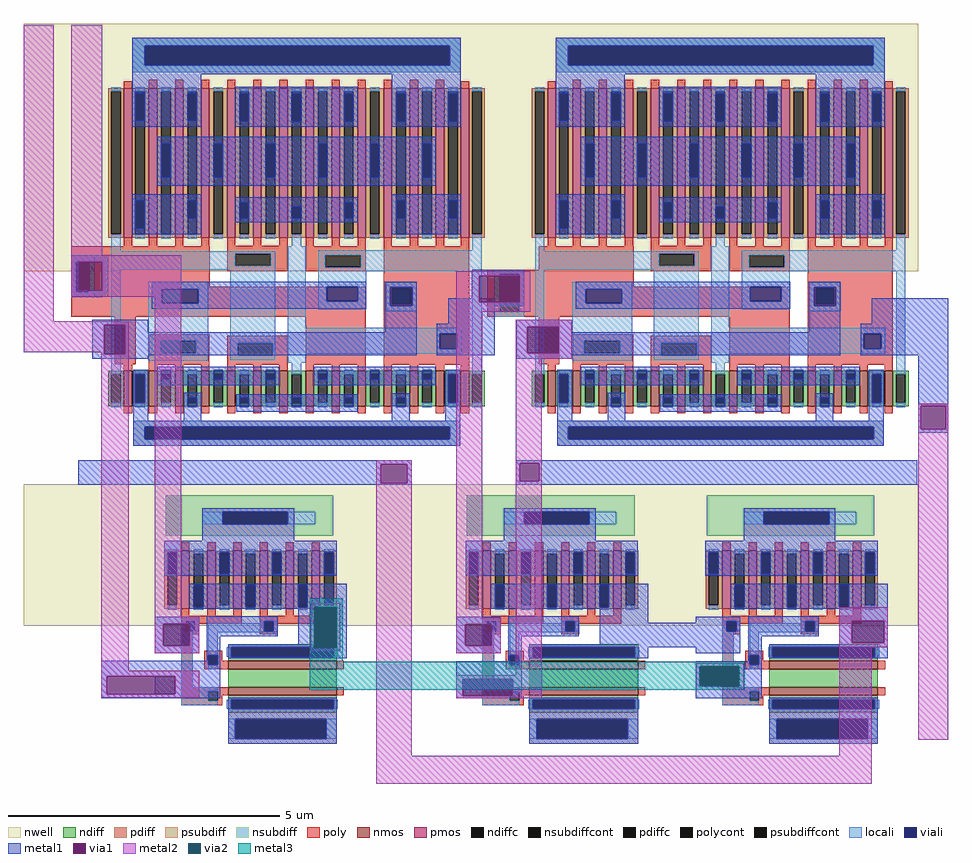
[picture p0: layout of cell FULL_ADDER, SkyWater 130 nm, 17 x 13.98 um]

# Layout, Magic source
magic
tech sky130B
magscale 1 2
<< nwell >>
rect -292 625 2999 1536
rect -292 -679 2999 -159
<< poly >>
rect -118 660 74 717
rect -118 550 -99 660
rect -52 550 74 660
rect -118 458 74 550
rect 1413 615 1729 630
rect 1413 475 1458 615
rect 1531 475 1729 615
rect 1413 458 1729 475
<< polycont >>
rect -99 550 -52 660
rect 1458 475 1531 615
<< locali >>
rect -117 660 -32 683
rect -117 550 -99 660
rect -52 550 -32 660
rect -117 530 -32 550
rect 1358 608 1392 625
rect 1439 615 1548 630
rect 1358 511 1383 608
rect 1358 495 1392 511
rect 1439 475 1458 615
rect 1531 475 1548 615
rect 1439 458 1548 475
<< viali >>
rect -99 550 -52 660
rect 1458 512 1531 615
<< metal1 >>
rect -117 660 18 684
rect -117 550 -99 660
rect -3 552 18 660
rect 1357 625 1548 630
rect -52 550 18 552
rect -117 530 18 550
rect 1356 615 1548 625
rect 1356 608 1458 615
rect 1531 608 1548 615
rect 1356 511 1383 608
rect 1533 511 1548 608
rect 1356 495 1548 511
rect 1519 420 1724 446
rect 1519 323 1559 420
rect 1675 323 1724 420
rect 1519 303 1724 323
rect 2862 316 3108 525
rect 2999 129 3108 316
rect 2999 43 3008 129
rect 3099 43 3108 129
rect 2999 31 3108 43
rect -93 -86 1135 -70
rect -93 -155 1020 -86
rect 1119 -155 1135 -86
rect -93 -161 1135 -155
rect 1518 -82 2995 -70
rect 1518 -148 1532 -82
rect 1603 -148 2995 -82
rect 1518 -161 2995 -148
rect 189 -673 353 -646
rect 189 -753 221 -673
rect 319 -753 353 -673
rect 189 -781 353 -753
rect 1298 -674 1462 -651
rect 1298 -754 1332 -674
rect 1430 -754 1462 -674
rect 1298 -781 1462 -754
rect 1826 -759 2243 -669
rect -7 -866 384 -809
rect -7 -932 12 -866
rect 265 -932 384 -866
rect -7 -946 384 -932
<< via1 >>
rect -93 552 -52 660
rect -52 552 -3 660
rect 1383 512 1458 608
rect 1458 512 1531 608
rect 1531 512 1533 608
rect 1383 511 1533 512
rect 4 319 80 427
rect 1559 323 1675 420
rect 3008 43 3099 129
rect 1020 -155 1119 -86
rect 1532 -148 1603 -82
rect 221 -753 319 -673
rect 776 -760 859 -612
rect 1332 -754 1430 -674
rect 2753 -742 2873 -662
rect 12 -932 265 -866
rect 1322 -937 1507 -877
rect 2194 -903 2339 -828
<< metal2 >>
rect -292 440 -183 1529
rect -117 683 -3 1529
rect -117 660 286 683
rect -117 552 -93 660
rect -3 552 286 660
rect -117 530 286 552
rect -117 529 -3 530
rect -292 439 65 440
rect -292 427 94 439
rect -292 327 4 427
rect -7 319 4 327
rect 80 319 94 427
rect -7 -846 94 319
rect 190 -646 286 530
rect 1299 608 1571 624
rect 1299 511 1383 608
rect 1533 511 1571 608
rect 1299 476 1571 511
rect 1004 -86 1135 -70
rect 1004 -155 1020 -86
rect 1119 -155 1135 -86
rect 763 -612 872 -597
rect 189 -673 353 -646
rect 189 -753 221 -673
rect 319 -753 353 -673
rect 189 -781 353 -753
rect 763 -760 776 -612
rect 859 -760 872 -612
rect 763 -772 872 -760
rect -7 -866 353 -846
rect -7 -932 12 -866
rect 265 -932 353 -866
rect -7 -945 353 -932
rect 1004 -1158 1135 -155
rect 1299 -651 1395 476
rect 1518 420 1724 446
rect 1518 323 1559 420
rect 1675 323 1724 420
rect 1518 303 1724 323
rect 1518 -82 1613 303
rect 1518 -148 1532 -82
rect 1603 -148 1613 -82
rect 1298 -674 1462 -651
rect 1298 -754 1332 -674
rect 1430 -754 1462 -674
rect 1298 -781 1462 -754
rect 1518 -862 1613 -148
rect 2999 129 3108 138
rect 2999 43 3008 129
rect 3099 43 3108 129
rect 2708 -662 2886 -611
rect 2708 -742 2753 -662
rect 2873 -742 2886 -662
rect 2708 -759 2886 -742
rect 1298 -877 1613 -862
rect 1298 -937 1322 -877
rect 1507 -937 1613 -877
rect 2182 -828 2357 -817
rect 2182 -903 2194 -828
rect 2339 -903 2357 -828
rect 2182 -915 2357 -903
rect 1298 -947 1613 -937
rect 2708 -1158 2828 -759
rect 2999 -1099 3108 43
rect 1004 -1260 2828 -1158
<< via2 >>
rect 776 -760 859 -612
rect 2194 -903 2339 -828
<< metal3 >>
rect 759 -612 881 -579
rect 759 -760 776 -612
rect 859 -760 881 -612
rect 759 -813 881 -760
rect 759 -828 2360 -813
rect 759 -903 2194 -828
rect 2339 -903 2360 -828
rect 759 -915 2360 -903
use NAND2  NAND2_0
transform 1 0 -167 0 1 -1051
box 356 -63 1062 892
use NAND2  NAND2_1
transform 1 0 942 0 1 -1051
box 356 -63 1062 892
use NAND2  NAND2_2
transform 1 0 1824 0 1 -1051
box 356 -63 1062 892
use XOR2  XOR2_0
transform 1 0 69 0 1 -239
box -109 222 1371 1764
use XOR2  XOR2_1
transform 1 0 1628 0 1 -239
box -109 222 1371 1764
<< end >>

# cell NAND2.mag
magic
tech sky130B
magscale 1 2
<< nwell >>
rect 356 372 1062 892
<< nmos >>
rect 626 212 1026 242
rect 626 116 1026 146
<< pmos >>
rect 454 434 484 648
rect 550 434 580 648
rect 646 434 676 648
rect 742 434 772 648
rect 838 434 868 648
rect 934 434 964 648
<< ndiff >>
rect 626 292 1026 304
rect 626 258 638 292
rect 1014 258 1026 292
rect 626 242 1026 258
rect 626 146 1026 212
rect 626 100 1026 116
rect 626 66 638 100
rect 1014 66 1026 100
rect 626 54 1026 66
<< pdiff >>
rect 392 636 454 648
rect 392 446 404 636
rect 438 446 454 636
rect 392 434 454 446
rect 484 636 550 648
rect 484 446 500 636
rect 534 446 550 636
rect 484 434 550 446
rect 580 636 646 648
rect 580 446 596 636
rect 630 446 646 636
rect 580 434 646 446
rect 676 636 742 648
rect 676 446 692 636
rect 726 446 742 636
rect 676 434 742 446
rect 772 636 838 648
rect 772 446 788 636
rect 822 446 838 636
rect 772 434 838 446
rect 868 636 934 648
rect 868 446 884 636
rect 918 446 934 636
rect 868 434 934 446
rect 964 636 1026 648
rect 964 446 980 636
rect 1014 446 1026 636
rect 964 434 1026 446
<< ndiffc >>
rect 638 258 1014 292
rect 638 66 1014 100
<< pdiffc >>
rect 404 446 438 636
rect 500 446 534 636
rect 596 446 630 636
rect 692 446 726 636
rect 788 446 822 636
rect 884 446 918 636
rect 980 446 1014 636
<< psubdiff >>
rect 626 30 1026 54
rect 626 -44 653 30
rect 988 -44 1026 30
rect 626 -63 1026 -44
<< nsubdiff >>
rect 396 791 1013 852
rect 396 744 606 791
rect 846 744 1013 791
rect 396 702 1013 744
<< psubdiffcont >>
rect 653 -44 988 30
<< nsubdiffcont >>
rect 606 744 846 791
<< poly >>
rect 454 648 484 679
rect 550 648 580 679
rect 646 648 676 679
rect 742 648 772 679
rect 838 648 868 679
rect 934 648 964 679
rect 454 408 484 434
rect 550 408 580 434
rect 646 408 676 434
rect 453 387 676 408
rect 453 352 470 387
rect 504 378 676 387
rect 742 408 772 434
rect 838 408 868 434
rect 934 408 964 434
rect 742 387 964 408
rect 504 352 520 378
rect 453 341 520 352
rect 742 352 759 387
rect 793 378 964 387
rect 793 352 809 378
rect 742 341 809 352
rect 453 146 496 341
rect 538 263 604 279
rect 538 228 554 263
rect 588 242 604 263
rect 588 228 626 242
rect 538 212 626 228
rect 1026 212 1052 242
rect 453 130 626 146
rect 453 95 554 130
rect 588 116 626 130
rect 1026 116 1052 146
rect 588 95 604 116
rect 453 79 604 95
<< polycont >>
rect 470 352 504 387
rect 759 352 793 387
rect 554 228 588 263
rect 554 95 588 130
<< locali >>
rect 532 744 606 791
rect 846 744 946 791
rect 404 642 438 652
rect 404 430 438 446
rect 500 636 534 652
rect 500 430 534 440
rect 596 642 630 652
rect 596 430 630 446
rect 692 636 726 652
rect 692 430 726 440
rect 788 642 822 652
rect 788 430 822 446
rect 884 636 918 652
rect 884 430 918 440
rect 980 642 1014 652
rect 980 430 1014 446
rect 453 352 470 387
rect 504 352 520 387
rect 742 381 759 387
rect 554 352 759 381
rect 793 352 809 387
rect 453 146 496 352
rect 554 347 809 352
rect 554 263 588 347
rect 622 258 638 292
rect 1014 258 1030 292
rect 554 212 588 228
rect 453 130 588 146
rect 453 95 554 130
rect 453 79 588 95
rect 622 66 638 100
rect 1014 66 1030 100
rect 626 -44 653 30
rect 988 -44 1026 30
<< viali >>
rect 606 744 846 791
rect 404 636 438 642
rect 404 562 438 636
rect 500 446 534 520
rect 500 440 534 446
rect 596 636 630 642
rect 596 562 630 636
rect 692 446 726 520
rect 692 440 726 446
rect 788 636 822 642
rect 788 562 822 636
rect 884 446 918 520
rect 884 440 918 446
rect 980 636 1014 642
rect 980 562 1014 636
rect 470 352 504 387
rect 759 352 793 387
rect 554 228 588 263
rect 638 258 1014 292
rect 638 66 1014 100
rect 653 -44 988 25
<< metal1 >>
rect 532 791 869 803
rect 532 744 606 791
rect 846 744 869 791
rect 532 684 869 744
rect 391 648 1025 684
rect 391 642 1026 648
rect 391 562 404 642
rect 438 562 596 642
rect 630 562 788 642
rect 822 562 980 642
rect 1014 562 1026 642
rect 391 556 1026 562
rect 391 555 1025 556
rect 484 520 1062 526
rect 484 440 500 520
rect 534 440 692 520
rect 726 440 884 520
rect 918 440 1062 520
rect 484 434 1062 440
rect 356 387 520 405
rect 356 352 470 387
rect 504 352 520 387
rect 356 270 520 352
rect 548 387 808 406
rect 548 352 759 387
rect 793 352 808 387
rect 548 332 808 352
rect 548 263 598 332
rect 884 304 1062 434
rect 548 241 554 263
rect 356 228 554 241
rect 588 228 598 263
rect 626 292 1062 304
rect 626 258 638 292
rect 1014 258 1062 292
rect 626 252 1062 258
rect 356 105 598 228
rect 626 100 1026 106
rect 626 66 638 100
rect 1014 66 1026 100
rect 626 25 1026 66
rect 626 -44 653 25
rect 988 -44 1026 25
rect 626 -63 1026 -44
<< end >>

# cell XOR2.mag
magic
tech sky130B
magscale 1 2
<< nwell >>
rect -87 864 1371 1764
<< nmos >>
rect 7 367 37 497
rect 99 367 129 497
rect 195 367 225 497
rect 291 367 321 497
rect 387 367 417 497
rect 483 367 513 497
rect 579 367 609 497
rect 675 367 705 497
rect 771 367 801 497
rect 867 367 897 497
rect 963 367 993 497
rect 1059 367 1089 497
rect 1155 367 1185 497
rect 1247 367 1277 497
<< pmos >>
rect 7 987 37 1537
rect 99 987 129 1537
rect 195 987 225 1537
rect 291 987 321 1537
rect 387 987 417 1537
rect 483 987 513 1537
rect 579 987 609 1537
rect 675 987 705 1537
rect 771 987 801 1537
rect 867 987 897 1537
rect 963 987 993 1537
rect 1059 987 1089 1537
rect 1155 987 1185 1537
rect 1247 987 1277 1537
<< ndiff >>
rect -51 485 7 497
rect -51 379 -39 485
rect -5 379 7 485
rect -51 367 7 379
rect 37 485 99 497
rect 37 379 49 485
rect 83 379 99 485
rect 37 367 99 379
rect 129 485 195 497
rect 129 379 145 485
rect 179 379 195 485
rect 129 367 195 379
rect 225 485 291 497
rect 225 379 241 485
rect 275 379 291 485
rect 225 367 291 379
rect 321 485 387 497
rect 321 379 337 485
rect 371 379 387 485
rect 321 367 387 379
rect 417 485 483 497
rect 417 379 433 485
rect 467 379 483 485
rect 417 367 483 379
rect 513 485 579 497
rect 513 379 529 485
rect 563 379 579 485
rect 513 367 579 379
rect 609 485 675 497
rect 609 379 625 485
rect 659 379 675 485
rect 609 367 675 379
rect 705 485 771 497
rect 705 379 721 485
rect 755 379 771 485
rect 705 367 771 379
rect 801 485 867 497
rect 801 379 817 485
rect 851 379 867 485
rect 801 367 867 379
rect 897 485 963 497
rect 897 379 913 485
rect 947 379 963 485
rect 897 367 963 379
rect 993 485 1059 497
rect 993 379 1009 485
rect 1043 379 1059 485
rect 993 367 1059 379
rect 1089 485 1155 497
rect 1089 379 1105 485
rect 1139 379 1155 485
rect 1089 367 1155 379
rect 1185 485 1247 497
rect 1185 379 1201 485
rect 1235 379 1247 485
rect 1185 367 1247 379
rect 1277 485 1335 497
rect 1277 379 1289 485
rect 1323 379 1335 485
rect 1277 367 1335 379
<< pdiff >>
rect -51 1525 7 1537
rect -51 999 -39 1525
rect -5 999 7 1525
rect -51 987 7 999
rect 37 1525 99 1537
rect 37 999 49 1525
rect 83 999 99 1525
rect 37 987 99 999
rect 129 1525 195 1537
rect 129 999 145 1525
rect 179 999 195 1525
rect 129 987 195 999
rect 225 1525 291 1537
rect 225 999 241 1525
rect 275 999 291 1525
rect 225 987 291 999
rect 321 1525 387 1537
rect 321 999 337 1525
rect 371 999 387 1525
rect 321 987 387 999
rect 417 1525 483 1537
rect 417 999 433 1525
rect 467 999 483 1525
rect 417 987 483 999
rect 513 1525 579 1537
rect 513 999 529 1525
rect 563 999 579 1525
rect 513 987 579 999
rect 609 1525 675 1537
rect 609 999 625 1525
rect 659 999 675 1525
rect 609 987 675 999
rect 705 1525 771 1537
rect 705 999 721 1525
rect 755 999 771 1525
rect 705 987 771 999
rect 801 1525 867 1537
rect 801 999 817 1525
rect 851 999 867 1525
rect 801 987 867 999
rect 897 1525 963 1537
rect 897 999 913 1525
rect 947 999 963 1525
rect 897 987 963 999
rect 993 1525 1059 1537
rect 993 999 1009 1525
rect 1043 999 1059 1525
rect 993 987 1059 999
rect 1089 1525 1155 1537
rect 1089 999 1105 1525
rect 1139 999 1155 1525
rect 1089 987 1155 999
rect 1185 1525 1247 1537
rect 1185 999 1201 1525
rect 1235 999 1247 1525
rect 1185 987 1247 999
rect 1277 1525 1335 1537
rect 1277 999 1289 1525
rect 1323 999 1335 1525
rect 1277 987 1335 999
<< ndiffc >>
rect -39 379 -5 485
rect 49 379 83 485
rect 145 379 179 485
rect 241 379 275 485
rect 337 379 371 485
rect 433 379 467 485
rect 529 379 563 485
rect 625 379 659 485
rect 721 379 755 485
rect 817 379 851 485
rect 913 379 947 485
rect 1009 379 1043 485
rect 1105 379 1139 485
rect 1201 379 1235 485
rect 1289 379 1323 485
<< pdiffc >>
rect -39 999 -5 1525
rect 49 999 83 1525
rect 145 999 179 1525
rect 241 999 275 1525
rect 337 999 371 1525
rect 433 999 467 1525
rect 529 999 563 1525
rect 625 999 659 1525
rect 721 999 755 1525
rect 817 999 851 1525
rect 913 999 947 1525
rect 1009 999 1043 1525
rect 1105 999 1139 1525
rect 1201 999 1235 1525
rect 1289 999 1323 1525
<< psubdiff >>
rect 42 291 1244 313
rect 42 245 83 291
rect 1206 245 1244 291
rect 42 222 1244 245
<< nsubdiff >>
rect 37 1694 1247 1722
rect 37 1622 83 1694
rect 1205 1622 1247 1694
rect 37 1596 1247 1622
<< psubdiffcont >>
rect 83 245 1206 291
<< nsubdiffcont >>
rect 83 1622 1205 1694
<< poly >>
rect 7 1537 37 1563
rect 99 1537 129 1568
rect 195 1537 225 1568
rect 291 1537 321 1568
rect 387 1537 417 1568
rect 483 1537 513 1568
rect 579 1537 609 1568
rect 675 1537 705 1568
rect 771 1537 801 1568
rect 867 1537 897 1568
rect 963 1537 993 1568
rect 1059 1537 1089 1568
rect 1155 1537 1185 1568
rect 1247 1537 1277 1563
rect 7 956 37 987
rect 99 956 129 987
rect 195 956 225 987
rect 291 956 321 987
rect 387 957 417 987
rect 483 957 513 987
rect 579 957 609 987
rect -26 806 323 956
rect 387 928 609 957
rect 387 883 417 928
rect 547 883 609 928
rect 387 864 609 883
rect 675 956 705 987
rect 771 956 801 987
rect 867 956 897 987
rect 675 923 897 956
rect 675 878 748 923
rect 878 878 897 923
rect 675 863 897 878
rect 963 956 993 987
rect 1059 956 1089 987
rect 1155 956 1185 987
rect 1247 956 1277 987
rect -87 697 897 806
rect -26 522 50 697
rect 99 607 321 632
rect 99 562 142 607
rect 272 562 321 607
rect 7 497 37 522
rect 99 519 321 562
rect 99 497 129 519
rect 195 497 225 519
rect 291 497 321 519
rect 387 599 609 627
rect 387 554 425 599
rect 555 554 609 599
rect 387 519 609 554
rect 387 497 417 519
rect 483 497 513 519
rect 579 497 609 519
rect 675 519 897 697
rect 675 497 705 519
rect 771 497 801 519
rect 867 497 897 519
rect 963 799 1277 956
rect 963 744 995 799
rect 1060 744 1277 799
rect 963 519 1277 744
rect 963 497 993 519
rect 1059 497 1089 519
rect 1155 497 1185 519
rect 1247 497 1277 519
rect 7 341 37 367
rect 99 341 129 367
rect 195 341 225 367
rect 291 341 321 367
rect 387 341 417 367
rect 483 341 513 367
rect 579 341 609 367
rect 675 341 705 367
rect 771 341 801 367
rect 867 341 897 367
rect 963 341 993 367
rect 1059 341 1089 367
rect 1155 341 1185 367
rect 1247 341 1277 367
<< polycont >>
rect 417 883 547 928
rect 748 878 878 923
rect 142 562 272 607
rect 425 554 555 599
rect 995 744 1060 799
<< locali >>
rect 37 1694 1247 1722
rect 37 1622 83 1694
rect 1205 1622 1247 1694
rect 37 1596 1247 1622
rect -39 1525 -5 1541
rect -39 938 -5 999
rect 49 1525 83 1541
rect 49 983 83 999
rect 145 1525 179 1541
rect 145 983 179 999
rect 241 1525 275 1541
rect 241 983 275 999
rect 337 1525 371 1541
rect 337 983 371 999
rect 433 1525 467 1541
rect 433 983 467 999
rect 529 1525 563 1541
rect 529 983 563 999
rect 625 1525 659 1541
rect 625 956 659 999
rect 721 1525 755 1541
rect 721 983 755 999
rect 817 1525 851 1541
rect 817 983 851 999
rect 913 1525 947 1541
rect 913 983 947 999
rect 1009 1525 1043 1541
rect 1009 983 1043 999
rect 1105 1525 1139 1541
rect 1105 983 1139 999
rect 1201 1525 1235 1541
rect 1201 983 1235 999
rect 1289 1525 1323 1541
rect -39 928 563 938
rect -39 883 417 928
rect 547 883 563 928
rect -39 869 563 883
rect -39 485 -5 869
rect 97 798 318 825
rect 97 745 147 798
rect 280 745 318 798
rect 97 607 318 745
rect 97 562 142 607
rect 272 562 318 607
rect 97 535 318 562
rect 398 599 563 869
rect 398 554 425 599
rect 555 554 563 599
rect 398 537 563 554
rect 609 656 675 956
rect 1289 941 1323 999
rect 721 923 1323 941
rect 721 878 748 923
rect 878 878 1323 923
rect 721 864 1323 878
rect 721 806 898 864
rect 721 753 753 806
rect 867 753 898 806
rect 721 724 898 753
rect 970 805 1085 823
rect 970 737 987 805
rect 1067 737 1085 805
rect 970 717 1085 737
rect 609 634 1249 656
rect 609 579 1169 634
rect 1234 579 1249 634
rect 609 560 1249 579
rect 609 526 675 560
rect -39 363 -5 379
rect 49 485 83 501
rect 49 363 83 379
rect 145 500 179 501
rect 145 363 179 379
rect 241 485 275 501
rect 241 363 275 365
rect 337 500 371 501
rect 337 363 371 379
rect 433 485 467 501
rect 433 363 467 365
rect 529 499 563 501
rect 529 363 563 379
rect 625 485 659 526
rect 625 363 659 365
rect 721 500 755 501
rect 721 363 755 379
rect 817 485 851 501
rect 817 363 851 365
rect 913 500 947 501
rect 913 363 947 379
rect 1009 485 1043 501
rect 1009 363 1043 365
rect 1105 500 1139 501
rect 1105 363 1139 379
rect 1201 485 1235 501
rect 1201 363 1235 379
rect 1289 485 1323 864
rect 1289 363 1323 379
rect 42 291 1244 313
rect 42 245 83 291
rect 1206 245 1244 291
rect 42 222 1244 245
<< viali >>
rect 83 1622 1205 1694
rect 49 1417 83 1519
rect 49 1022 83 1124
rect 145 1209 179 1333
rect 241 1417 275 1519
rect 241 1058 275 1124
rect 337 1209 371 1333
rect 433 1415 467 1517
rect 433 1058 467 1118
rect 529 1209 563 1333
rect 625 1414 659 1516
rect 625 1058 659 1101
rect 721 1209 755 1333
rect 817 1414 851 1516
rect 817 1058 851 1118
rect 913 1209 947 1333
rect 1009 1414 1043 1516
rect 1009 1058 1043 1125
rect 1105 1208 1139 1332
rect 1201 1414 1235 1516
rect 1201 1058 1235 1125
rect 147 745 280 798
rect 753 753 867 806
rect 987 799 1067 805
rect 987 744 995 799
rect 995 744 1060 799
rect 1060 744 1067 799
rect 987 737 1067 744
rect 1169 579 1234 634
rect 49 379 83 485
rect 145 485 179 500
rect 145 466 179 485
rect 241 379 275 399
rect 241 365 275 379
rect 337 485 371 500
rect 337 466 371 485
rect 433 379 467 399
rect 433 365 467 379
rect 529 485 563 499
rect 529 465 563 485
rect 625 379 659 399
rect 625 365 659 379
rect 721 485 755 500
rect 721 466 755 485
rect 817 379 851 399
rect 817 365 851 379
rect 913 485 947 500
rect 913 466 947 485
rect 1009 379 1043 399
rect 1009 365 1043 379
rect 1105 485 1139 500
rect 1105 466 1139 485
rect 1201 379 1235 485
rect 83 245 1206 291
<< metal1 >>
rect 37 1694 1247 1722
rect 37 1622 83 1694
rect 1205 1622 1247 1694
rect 37 1588 1247 1622
rect 37 1519 291 1588
rect 37 1417 49 1519
rect 83 1417 241 1519
rect 275 1417 291 1519
rect 37 1396 291 1417
rect 417 1517 867 1543
rect 417 1415 433 1517
rect 467 1516 867 1517
rect 467 1415 625 1516
rect 417 1414 625 1415
rect 659 1414 817 1516
rect 851 1414 867 1516
rect 417 1396 867 1414
rect 993 1516 1247 1588
rect 993 1414 1009 1516
rect 1043 1414 1201 1516
rect 1235 1414 1247 1516
rect 993 1396 1247 1414
rect 129 1333 1155 1358
rect 129 1209 145 1333
rect 179 1209 337 1333
rect 371 1209 529 1333
rect 563 1209 721 1333
rect 755 1209 913 1333
rect 947 1332 1155 1333
rect 947 1209 1105 1332
rect 129 1208 1105 1209
rect 1139 1208 1155 1332
rect 129 1179 1155 1208
rect 37 1124 291 1146
rect 37 1022 49 1124
rect 83 1058 241 1124
rect 275 1058 291 1124
rect 83 1022 291 1058
rect 417 1118 867 1135
rect 417 1058 433 1118
rect 467 1101 817 1118
rect 467 1058 625 1101
rect 659 1058 817 1101
rect 851 1058 867 1118
rect 417 1043 867 1058
rect 993 1125 1247 1146
rect 993 1058 1009 1125
rect 1043 1058 1201 1125
rect 1235 1058 1247 1125
rect 37 999 291 1022
rect 993 999 1247 1058
rect 110 806 899 824
rect 110 798 753 806
rect 110 745 147 798
rect 280 753 753 798
rect 867 753 899 806
rect 280 745 899 753
rect 110 725 899 745
rect 969 805 1084 824
rect 969 737 987 805
rect 1067 737 1084 805
rect -109 640 96 685
rect 969 640 1084 737
rect 1200 671 1371 764
rect -109 554 1084 640
rect 1158 634 1371 671
rect 1158 579 1169 634
rect 1234 579 1371 634
rect 1158 555 1371 579
rect -109 542 96 554
rect 42 485 97 501
rect 42 379 49 485
rect 83 379 97 485
rect 129 500 579 512
rect 129 466 145 500
rect 179 466 337 500
rect 371 499 579 500
rect 371 466 529 499
rect 129 465 529 466
rect 563 465 579 499
rect 129 444 579 465
rect 705 500 1155 512
rect 705 466 721 500
rect 755 466 913 500
rect 947 466 1105 500
rect 1139 466 1155 500
rect 705 444 1155 466
rect 1189 485 1244 501
rect 42 313 97 379
rect 227 399 292 416
rect 227 365 241 399
rect 275 365 292 399
rect 227 313 292 365
rect 420 399 867 411
rect 420 365 433 399
rect 467 365 625 399
rect 659 365 817 399
rect 851 365 867 399
rect 420 347 867 365
rect 993 399 1058 415
rect 993 365 1009 399
rect 1043 365 1058 399
rect 993 313 1058 365
rect 1189 379 1201 485
rect 1235 379 1244 485
rect 1189 313 1244 379
rect 42 291 1244 313
rect 42 245 83 291
rect 1206 245 1244 291
rect 42 222 1244 245
<< end >>
